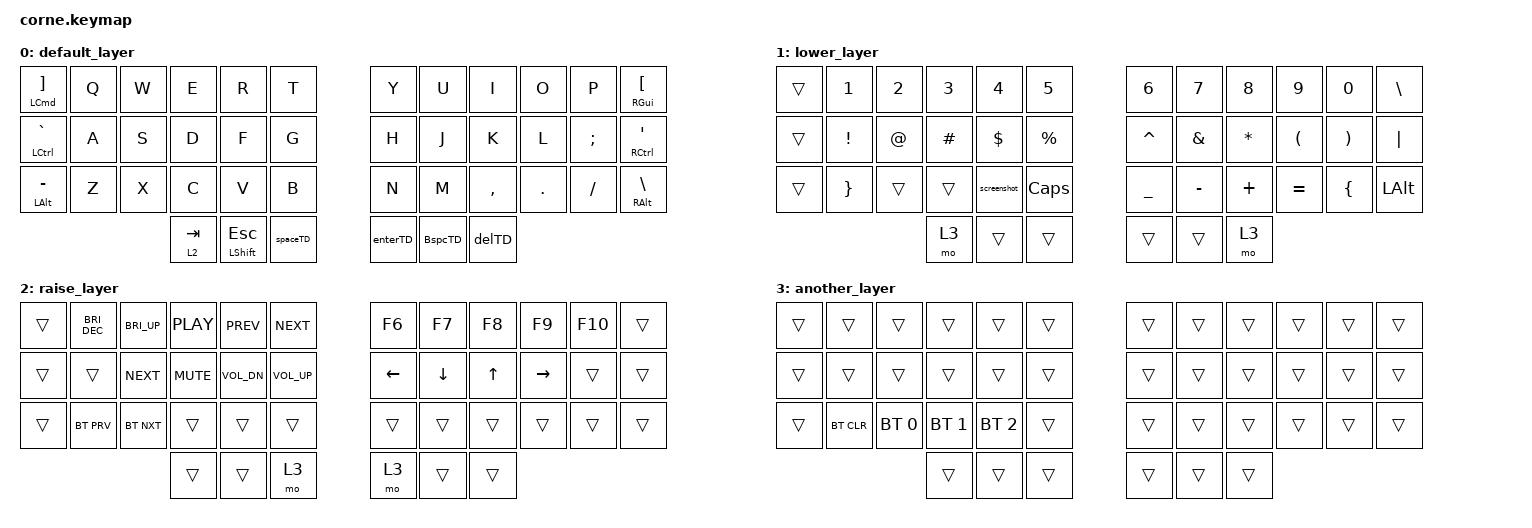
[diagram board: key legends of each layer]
/*
 * Copyright (c) 2020 The ZMK Contributors
 *
/*
 * Copyright (c) 2020 The ZMK Contributors
 *
 * SPDX-License-Identifier: MIT
 */

#include <behaviors.dtsi>
#include <dt-bindings/zmk/bt.h>
#include <dt-bindings/zmk/keys.h>

&lt {
    tapping-term-ms = <100>;
    quick-tap-ms = <0>;
};

&mt { tapping-term-ms = <100>; };

/ {
    mscros {
        screenshot: screenshot {
            compatible = "zmk,behavior-macro";
            label = "SCREENSHOT";
            #binding-cells = <0>;
            bindings =
                <&macro_press>,
                <&kp LEFT_GUI &kp LEFT_SHIFT>,
                <&macro_tap>,
                <&kp NUMBER_5>,
                <&macro_release>,
                <&kp LEFT_GUI &kp LEFT_SHIFT>;
        };
    };

    macros {
    };

    behaviors {
        spaceTD: spaceTD+lt1 {
            compatible = "zmk,behavior-tap-dance";
            label = "SPACETD";
            #binding-cells = <0>;
            bindings = <&lt 1 SPACE>, <&kp SPACE>;

            tapping-term-ms = <100>;
        };

        enterTD: enterTD+lt {
            compatible = "zmk,behavior-tap-dance";
            label = "ENTERTD";
            #binding-cells = <0>;
            bindings = <&lt 1 ENTER>, <&kp ENTER>;

            tapping-term-ms = <100>;
        };

        BspcTD: BspcTD+shft {
            compatible = "zmk,behavior-tap-dance";
            label = "BSPCTD";
            #binding-cells = <0>;
            bindings = <&mt RIGHT_SHIFT BACKSPACE>, <&kp BACKSPACE>;

            tapping-term-ms = <100>;
        };

        delTD: delTD {
            compatible = "zmk,behavior-tap-dance";
            label = "DELTD";
            #binding-cells = <0>;
            bindings = <&lt 2 DELETE>, <&kp DEL>;

            tapping-term-ms = <100>;
        };
    };

    keymap {
        compatible = "zmk,keymap";

        default_layer {
            bindings = <
&mt LCMD RIGHT_BRACKET  &kp Q  &kp W  &kp E      &kp R               &kp T       &kp Y     &kp U    &kp I      &kp O    &kp P     &mt RGUI LEFT_BRACKET
&mt LCTRL GRAVE         &kp A  &kp S  &kp D      &kp F               &kp G       &kp H     &kp J    &kp K      &kp L    &kp SEMI  &mt RCTRL SQT
&mt LEFT_ALT MINUS      &kp Z  &kp X  &kp C      &kp V               &kp B       &kp N     &kp M    &kp COMMA  &kp DOT  &kp FSLH  &mt RIGHT_ALT BSLH
                                      &lt 2 TAB  &mt LEFT_SHIFT ESC  &spaceTD    &enterTD  &BspcTD  &delTD
            >;
        };

        lower_layer {
            bindings = <
&trans  &kp NUMBER_1  &kp NUMBER_2  &kp NUMBER_3  &kp NUMBER_4  &kp NUMBER_5    &kp NUMBER_6  &kp NUMBER_7  &kp NUMBER_8  &kp NUMBER_9  &kp NUMBER_0  &kp BSLH
&trans  &kp EXCL      &kp AT        &kp HASH      &kp DLLR      &kp PRCNT       &kp CARET     &kp AMPS      &kp ASTRK     &kp LPAR      &kp RPAR      &kp PIPE
&trans  &kp RBRC      &trans        &trans        &screenshot   &kp CAPS        &kp UNDER     &kp MINUS     &kp PLUS      &kp EQUAL     &kp LBRC      &kp LALT
                                    &mo 3         &trans        &trans          &trans        &trans        &mo 3
            >;
        };

        raise_layer {
            bindings = <
&trans  &kp C_BRI_DEC  &kp C_BRI_UP  &kp C_PLAY  &kp C_PREV    &kp C_NEXT      &kp F6    &kp F7    &kp F8  &kp F9     &kp F10  &trans
&trans  &trans         &kp C_NEXT    &kp K_MUTE  &kp C_VOL_DN  &kp C_VOL_UP    &kp LEFT  &kp DOWN  &kp UP  &kp RIGHT  &trans   &trans
&trans  &bt BT_PRV     &bt BT_NXT    &trans      &trans        &trans          &trans    &trans    &trans  &trans     &trans   &trans
                                     &trans      &trans        &mo 3           &mo 3     &trans    &trans
            >;
        };

        another_layer {
            bindings = <
&trans  &trans      &trans        &trans        &trans        &trans    &trans  &trans  &trans  &trans  &trans  &trans
&trans  &trans      &trans        &trans        &trans        &trans    &trans  &trans  &trans  &trans  &trans  &trans
&trans  &bt BT_CLR  &bt BT_SEL 0  &bt BT_SEL 1  &bt BT_SEL 2  &trans    &trans  &trans  &trans  &trans  &trans  &trans
                                  &trans        &trans        &trans    &trans  &trans  &trans
            >;
        };
    };
};
